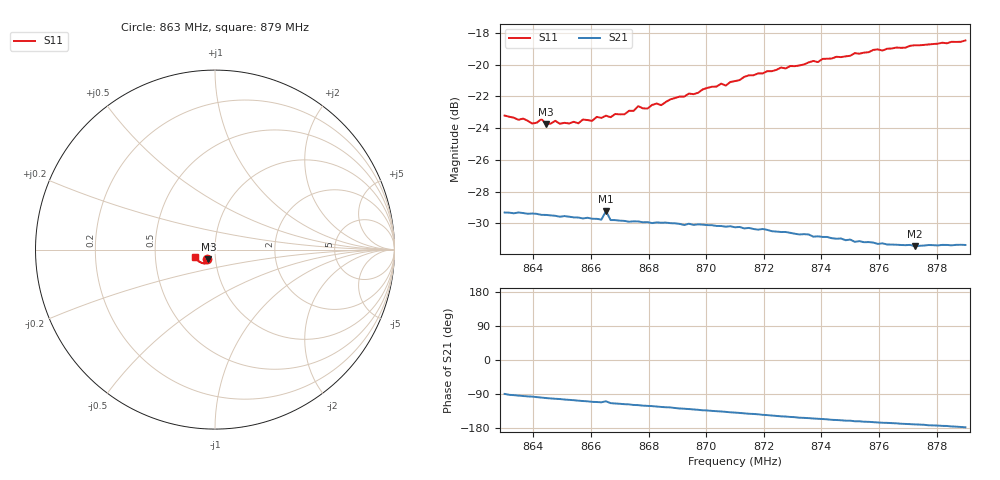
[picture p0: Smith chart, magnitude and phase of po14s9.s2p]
# HZ S RI R 50
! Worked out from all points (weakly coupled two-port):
!   101 points, 863 MHz to 879 MHz, reference 50 ohm
!   highest |S21| = -29.23 dB at 866.52 MHz (marker M1); lowest = -31.4 dB at 877.24 MHz (marker M2)
!   lowest |S11| = -23.8 dB at 864.44 MHz (marker M3), VSWR 1.14, Z = 46.2 - j4.97 ohm
!   |S11| at or under -10 dB: start of sweep to end of sweep
!   S12 and S22 are empty: the file has one direction only
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8.63e8  -0.0426 -0.0544  0.000296 -0.0342  0 0  0 0
8.6396e8  -0.0381 -0.0529  -0.00391 -0.0337  0 0  0 0
8.6428e8  -0.0379 -0.0558  -0.00533 -0.0332  0 0  0 0
8.6444e8  -0.0367 -0.0535  -0.00607 -0.033  0 0  0 0
8.6476e8  -0.037 -0.0553  -0.00714 -0.0326  0 0  0 0
8.6492e8  -0.0349 -0.055  -0.00747 -0.0323  0 0  0 0
8.6556e8  -0.0346 -0.0555  -0.00979 -0.0315  0 0  0 0
8.6572e8  -0.0345 -0.0577  -0.0103 -0.0311  0 0  0 0
8.6636e8  -0.0344 -0.0586  -0.012 -0.0302  0 0  0 0
8.6652e8  -0.0256 -0.0642  -0.0112 -0.0327  0 0  0 0
8.6668e8  -0.0336 -0.0595  -0.0131 -0.0296  0 0  0 0
8.6748e8  -0.0335 -0.0632  -0.0153 -0.0281  0 0  0 0
8.6764e8  -0.0352 -0.0651  -0.0156 -0.028  0 0  0 0
8.6796e8  -0.034 -0.0643  -0.0165 -0.0273  0 0  0 0
8.6828e8  -0.0351 -0.0668  -0.0172 -0.0267  0 0  0 0
8.6844e8  -0.0351 -0.0657  -0.0177 -0.0263  0 0  0 0
8.6876e8  -0.036 -0.069  -0.0182 -0.0259  0 0  0 0
8.71e8  -0.0477 -0.0749  -0.0231 -0.0202  0 0  0 0
8.7372e8  -0.0694 -0.0758  -0.0259 -0.0124  0 0  0 0
8.7644e8  -0.0936 -0.0625  -0.0263 -0.0063  0 0  0 0
8.7724e8  -0.1006 -0.0562  -0.0264 -0.00466  0 0  0 0
8.79e8  -0.1126 -0.0394  -0.027 -0.00115  0 0  0 0
